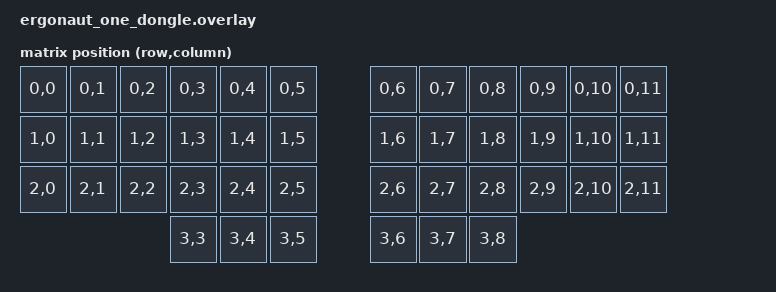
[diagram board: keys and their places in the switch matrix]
#include <dt-bindings/zmk/matrix_transform.h>
#include <dt-bindings/gpio/gpio.h>
#include <dt-bindings/pwm/pwm.h>

/ {
    chosen {
        zmk,matrix-transform = &default_transform;
        zmk,kscan = &mock_kscan;
        zephyr,display = &st7789;
        zmk,backlight = &disp_bl;
    };

    /* Scanner factice pour dongle sans matrice physique */
    mock_kscan: kscan_0 {
        compatible = "zmk,kscan-mock";
        columns = <0>;
        rows = <0>;
        events = <0>;
    };

    /* Disposition des 42 touches de l'Ergonaut One */
    default_transform: matrix_transform {
        compatible = "zmk,matrix-transform";
        columns = <12>;
        rows = <4>;
        map = <
            RC(0,0) RC(0,1) RC(0,2) RC(0,3) RC(0,4) RC(0,5)  RC(0,6) RC(0,7) RC(0,8) RC(0,9) RC(0,10) RC(0,11)
            RC(1,0) RC(1,1) RC(1,2) RC(1,3) RC(1,4) RC(1,5)  RC(1,6) RC(1,7) RC(1,8) RC(1,9) RC(1,10) RC(1,11)
            RC(2,0) RC(2,1) RC(2,2) RC(2,3) RC(2,4) RC(2,5)  RC(2,6) RC(2,7) RC(2,8) RC(2,9) RC(2,10) RC(2,11)
                                    RC(3,3) RC(3,4) RC(3,5)  RC(3,6) RC(3,7) RC(3,8)
        >;
    };

    /* Contrôle du rétroéclairage PWM */
    pwm_leds: pwm_leds {
        compatible = "pwm-leds";
        disp_bl: disp_bl {
            pwms = <&pwm0 0 PWM_MSEC(20) PWM_POLARITY_INVERTED>;
            label = "Backlight PWM";
        };
    };
};

/* Bus SPI1 et conteneur MIPI DBI natif Zephyr 4.1 */
&spi1 {
    status = "okay";
    cs-gpios = <&gpio0 11 GPIO_ACTIVE_LOW>;

    mipi_dbi: mipi_dbi {
        compatible = "zephyr,mipi-dbi-spi";
        spi-dev = <&spi1>;
        dc-gpios = <&gpio0 24 GPIO_ACTIVE_HIGH>;
        reset-gpios = <&gpio0 22 GPIO_ACTIVE_LOW>;
        #address-cells = <1>;
        #size-cells = <0>;

        st7789: st7789@0 {
            compatible = "sitronix,st7789v";
            reg = <0>;
            mipi-max-frequency = <20000000>;
            
            width = <240>;
            height = <240>;
            x-offset = <0>;
            y-offset = <0>;
            vcom = <0x19>;
            gctrl = <0x35>;
            vrhs = <0x12>;
            vdvs = <0x20>;
            mdac = <0x00>;
            gamma = <0x01>;
            colmod = <0x05>;
            lcm = <0x2c>;
            porch-param = [0c 0c 00 33 33];
            cmd2bk = [04 2f 11 42 02];
            cmd2en-param = [5a 69 02 01];
            pwctrl1-param = [a4 a1];
            pvgamctrl = [d0 04 0d 11 13 2b 3f 54 4c 18 0d 0b 1f 23];
            nvgamctrl = [d0 04 0c 11 13 2c 3f 44 51 2f 1f 1f 20 23];
        };
    };
};
